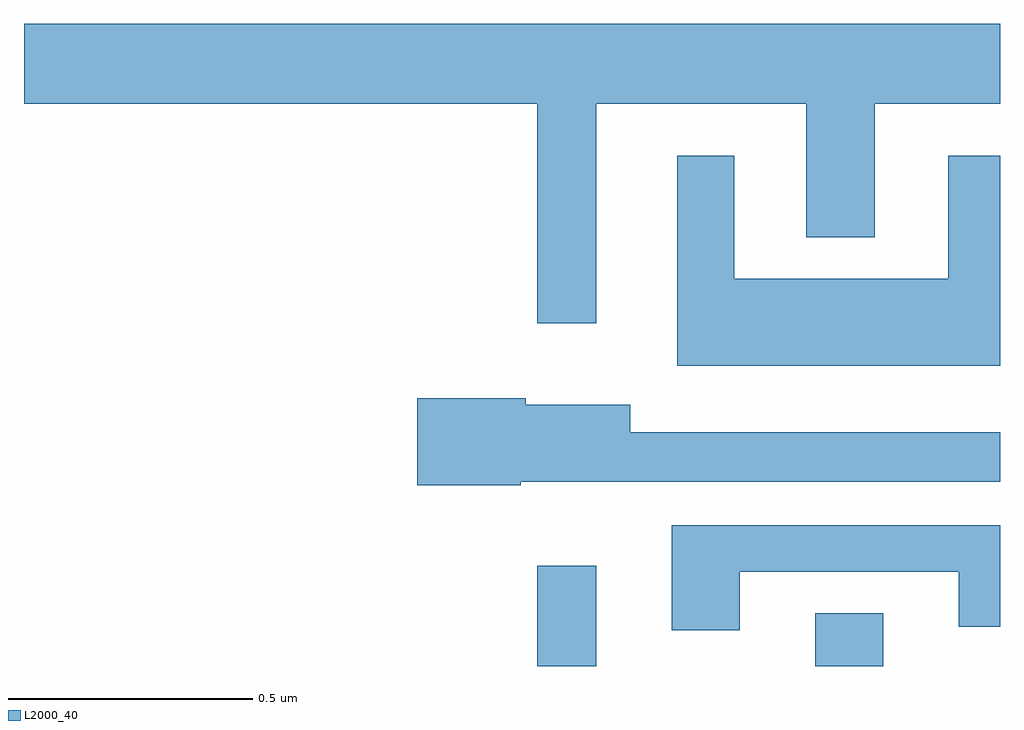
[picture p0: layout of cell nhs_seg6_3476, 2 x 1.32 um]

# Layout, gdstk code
import gdstk
lib = gdstk.Library(unit=1e-6, precision=1e-09)
def R(c, l, rs):  # rectangles x0, y0, x1, y1
    for r in rs: c.add(gdstk.rectangle(r[:2], r[2:], *l))
def P(c, l, *ps):  # polygons
    for p in ps: c.add(gdstk.Polygon(p, *l))
L2000_40 = (2000, 40)

nhs_seg6_3476 = lib.new_cell('nhs_seg6_3476')
R(nhs_seg6_3476, L2000_40, [(158.052,963.5,158.173,963.706), (158.621,963.5,158.761,963.608)])
P(nhs_seg6_3476, L2000_40, [(157,964.652),(158.052,964.652),(158.052,964.203),(158.173,964.203),(158.173,964.652),(158.603,964.652),(158.603,964.379),(158.743,964.379),(158.743,964.652),(159,964.652),(159,964.816),(157,964.816)],
  [(159,964.546),(158.894,964.546),(158.894,964.294),(158.455,964.294),(158.455,964.546),(158.339,964.546),(158.339,964.115),(159,964.115)],
  [(158.018,963.878),(159,963.878),(159,963.979),(158.242,963.979),(158.242,964.036),(158.028,964.036),(158.028,964.049),(157.806,964.049),(157.806,963.871),(158.018,963.871)],
  [(158.467,963.693),(158.915,963.693),(158.915,963.581),(159,963.581),(159,963.789),(158.327,963.789),(158.327,963.573),(158.467,963.573)])

lib.write_gds('nhs_seg6_3476.gds')
